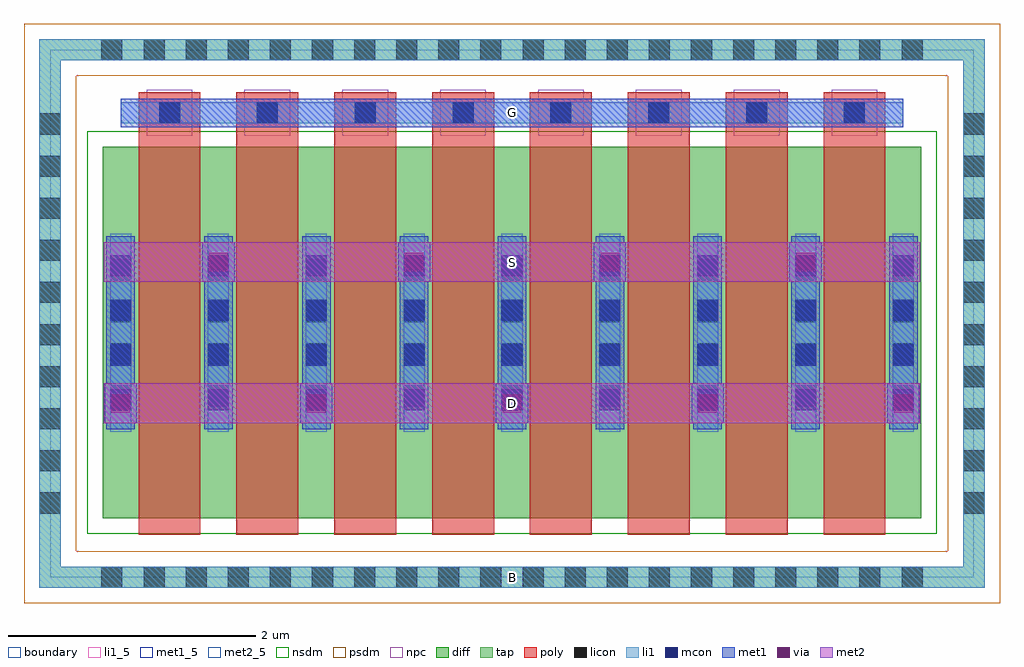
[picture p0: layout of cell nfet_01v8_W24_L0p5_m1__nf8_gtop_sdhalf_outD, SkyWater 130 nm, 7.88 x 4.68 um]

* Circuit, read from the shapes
.subckt nfet_01v8_W24_L0p5_m1__nf8_gtop_sdhalf_outD B D G S
XM1 S G D B sky130_fd_pr__nfet_01v8 w=3 l=0.5 m=8
.ends

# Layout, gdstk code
import gdstk
lib = gdstk.Library(unit=1e-6, precision=1e-09)
def R(c, l, rs):  # rectangles x0, y0, x1, y1
    for r in rs: c.add(gdstk.rectangle(r[:2], r[2:], *l))
def A(c, l, x, y, w, h, nx, ny, dx, dy):  # array of equal rectangles
    R(c, l, [(x+i*dx, y+j*dy, x+i*dx+w, y+j*dy+h) for i in range(nx) for j in range(ny)])
diff = (65, 20)
tap = (65, 44)
poly = (66, 20)
licon = (66, 44)
li1_5 = (67, 5)
li1 = (67, 20)
mcon = (67, 44)
met1_5 = (68, 5)
met1 = (68, 20)
via = (68, 44)
met2_5 = (69, 5)
met2 = (69, 20)
nsdm = (93, 44)
psdm = (94, 20)
npc = (95, 20)
boundary = (235, 4)

sky130_fd_pr__nfet_01v8_ = lib.new_cell('sky130_fd_pr__nfet_01v8_E262UR')
R(sky130_fd_pr__nfet_01v8_, diff, [(-3.305,-1.655,3.305,1.345)])
R(sky130_fd_pr__nfet_01v8_, tap, [(-3.815,-2.215,3.815,-2.045), (-3.815,-2.045,-3.645,2.045), (3.645,-2.045,3.815,2.045), (-3.815,2.045,3.815,2.215)])
A(sky130_fd_pr__nfet_01v8_, poly, -3.015, -1.785, 0.5, 3.57, 8, 1, 0.79, 0)
A(sky130_fd_pr__nfet_01v8_, licon, -3.315, -2.215, 0.17, 0.17, 20, 2, 0.34, 4.26)
A(sky130_fd_pr__nfet_01v8_, licon, -3.815, -1.615, 0.17, 0.17, 1, 10, 0, 0.34)
A(sky130_fd_pr__nfet_01v8_, licon, 3.645, -1.615, 0.17, 0.17, 1, 10, 0, 0.34)
A(sky130_fd_pr__nfet_01v8_, licon, -3.245, -0.75, 0.17, 0.17, 9, 4, 0.79, 0.34)
A(sky130_fd_pr__nfet_01v8_, licon, -2.85, 1.535, 0.17, 0.17, 8, 1, 0.79, 0)
A(sky130_fd_pr__nfet_01v8_, li1, -3.245, -0.955, 0.17, 1.6, 9, 1, 0.79, 0)
R(sky130_fd_pr__nfet_01v8_, li1, [(-3.815,-2.215,3.815,-2.045), (-3.815,-2.045,-3.645,2.045), (3.645,-2.045,3.815,2.045), (-3.16,1.535,3.16,1.705), (-3.815,2.045,3.815,2.215)])
A(sky130_fd_pr__nfet_01v8_, mcon, -3.245, -0.78, 0.17, 0.17, 9, 4, 0.79, 0.36)
A(sky130_fd_pr__nfet_01v8_, mcon, -2.85, 1.535, 0.17, 0.17, 8, 1, 0.79, 0)
A(sky130_fd_pr__nfet_01v8_, met1, -3.275, -0.935, 0.23, 1.56, 9, 1, 0.79, 0)
A(sky130_fd_pr__nfet_01v8_, met1, -2.995, 1.505, 0.46, 0.03, 8, 2, 0.79, 0.2)
R(sky130_fd_pr__nfet_01v8_, met1, [(-3.16,1.535,3.16,1.705)])
R(sky130_fd_pr__nfet_01v8_, nsdm, [(-3.43,-1.78,3.43,1.47)])
R(sky130_fd_pr__nfet_01v8_, psdm, [(-3.94,-2.34,3.94,-1.92), (-3.94,-1.92,-3.52,1.92), (3.52,-1.92,3.94,1.92), (-3.94,1.92,3.94,2.34)])
A(sky130_fd_pr__nfet_01v8_, npc, -2.95, 1.435, 0.37, 0.37, 8, 1, 0.79, 0)
R(sky130_fd_pr__nfet_01v8_, boundary, [(-3.73,-2.13,3.73,2.13)])
sky130_fd_pr__nfet_01v8_.add(gdstk.Label('B', (0,-2.13), layer=67, texttype=5))
sky130_fd_pr__nfet_01v8_.add(gdstk.Label('D0', (-3.16,-0.155), layer=67, texttype=5))
sky130_fd_pr__nfet_01v8_.add(gdstk.Label('G', (2.765,1.62), layer=67, texttype=5))
sky130_fd_pr__nfet_01v8_.add(gdstk.Label('G', (1.975,1.62), layer=67, texttype=5))
sky130_fd_pr__nfet_01v8_.add(gdstk.Label('G', (1.185,1.62), layer=67, texttype=5))
sky130_fd_pr__nfet_01v8_.add(gdstk.Label('G', (0.395,1.62), layer=67, texttype=5))
sky130_fd_pr__nfet_01v8_.add(gdstk.Label('G', (-0.395,1.62), layer=67, texttype=5))
sky130_fd_pr__nfet_01v8_.add(gdstk.Label('G', (-1.185,1.62), layer=67, texttype=5))
sky130_fd_pr__nfet_01v8_.add(gdstk.Label('G', (-1.975,1.62), layer=67, texttype=5))
sky130_fd_pr__nfet_01v8_.add(gdstk.Label('G', (-2.765,1.62), layer=67, texttype=5))
sky130_fd_pr__nfet_01v8_.add(gdstk.Label('S1', (-2.37,-0.155), layer=67, texttype=5))
sky130_fd_pr__nfet_01v8_.add(gdstk.Label('D2', (-1.58,-0.155), layer=67, texttype=5))
sky130_fd_pr__nfet_01v8_.add(gdstk.Label('S3', (-0.79,-0.155), layer=67, texttype=5))
sky130_fd_pr__nfet_01v8_.add(gdstk.Label('D4', (0,-0.155), layer=67, texttype=5))
sky130_fd_pr__nfet_01v8_.add(gdstk.Label('S5', (0.79,-0.155), layer=67, texttype=5))
sky130_fd_pr__nfet_01v8_.add(gdstk.Label('D6', (1.58,-0.155), layer=67, texttype=5))
sky130_fd_pr__nfet_01v8_.add(gdstk.Label('S7', (2.37,-0.155), layer=67, texttype=5))

nfet_01v8_w24_l0p5_m1__n = lib.new_cell('nfet_01v8_W24_L0p5_m1__nf8_gtop_sdhalf_outD')
R(nfet_01v8_w24_l0p5_m1__n, li1_5, [(3.645,-0.085,3.815,0.085)])
R(nfet_01v8_w24_l0p5_m1__n, li1, [(3.645,-0.085,3.815,0.085)])
R(nfet_01v8_w24_l0p5_m1__n, met1_5, [(0.57,3.635,6.89,3.865)])
A(nfet_01v8_w24_l0p5_m1__n, met1, 0.44, 1.245, 0.26, 0.32, 5, 1, 1.58, 0)
A(nfet_01v8_w24_l0p5_m1__n, met1, 1.23, 2.385, 0.26, 0.32, 4, 1, 1.58, 0)
R(nfet_01v8_w24_l0p5_m1__n, met1, [(0.57,3.635,6.89,3.865)])
A(nfet_01v8_w24_l0p5_m1__n, via, 0.495, 1.33, 0.15, 0.15, 5, 1, 1.58, 0)
A(nfet_01v8_w24_l0p5_m1__n, via, 1.285, 2.47, 0.15, 0.15, 4, 1, 1.58, 0)
R(nfet_01v8_w24_l0p5_m1__n, met2_5, [(0.435,1.245,7.025,1.565), (0.435,2.385,7.025,2.705)])
R(nfet_01v8_w24_l0p5_m1__n, met2, [(0.435,1.245,7.025,1.565), (0.435,2.385,7.025,2.705)])
nfet_01v8_w24_l0p5_m1__n.add(gdstk.Reference(sky130_fd_pr__nfet_01v8_, (3.73,2.13)))
nfet_01v8_w24_l0p5_m1__n.add(gdstk.Label('S', (3.73,2.545), layer=69, texttype=5))
nfet_01v8_w24_l0p5_m1__n.add(gdstk.Label('D', (3.73,1.405), layer=69, texttype=5))
nfet_01v8_w24_l0p5_m1__n.add(gdstk.Label('G', (3.73,3.75), layer=68, texttype=5))
nfet_01v8_w24_l0p5_m1__n.add(gdstk.Label('B', (3.73,0), layer=67, texttype=5))

lib.write_gds('nfet_01v8_W24_L0p5_m1__nf8_gtop_sdhalf_outD.gds')
